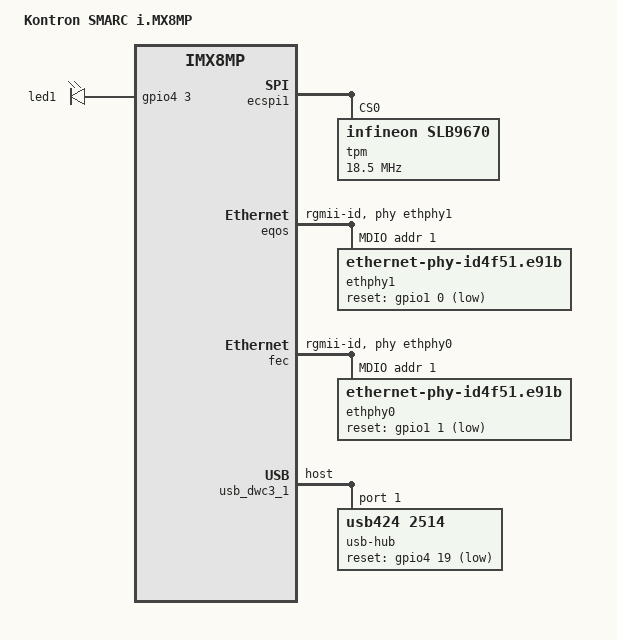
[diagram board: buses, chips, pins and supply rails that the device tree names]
// SPDX-License-Identifier: GPL-2.0+ OR MIT
/*
 * Copyright (C) 2024 Kontron Electronics GmbH
 */

#include <dt-bindings/gpio/gpio.h>
#include "imx8mp-kontron-osm-s.dtsi"

/ {
	model = "Kontron SMARC i.MX8MP";
	compatible = "kontron,imx8mp-smarc", "kontron,imx8mp-osm-s", "fsl,imx8mp";

	leds {
		compatible = "gpio-leds";

		led1 {
			label = "led1";
			gpios = <&gpio4 3 GPIO_ACTIVE_HIGH>;
			linux,default-trigger = "heartbeat";
		};
	};
};

&ecspi1 {
	status = "okay";

	tpm@0 {
		compatible = "infineon,slb9670", "tcg,tpm_tis-spi";
		reg = <0>;
		spi-max-frequency = <18500000>;
	};
};

&eqos {	/* Second ethernet (OSM-S ETH_B) */
	pinctrl-names = "default";
	pinctrl-0 = <&pinctrl_eqos_rgmii>;
	phy-mode = "rgmii-id";
	phy-handle = <&ethphy1>;

	mdio {
		compatible = "snps,dwmac-mdio";
		#address-cells = <1>;
		#size-cells = <0>;

		ethphy1: ethernet-phy@1 {
			compatible = "ethernet-phy-id4f51.e91b";
			reg = <1>;
			pinctrl-0 = <&pinctrl_ethphy1>;
			pinctrl-names = "default";
			reset-assert-us = <10000>;
			reset-gpios = <&gpio1 0 GPIO_ACTIVE_LOW>;
		};
	};
};

&fec { /* First ethernet (OSM-S ETH_A) */
	pinctrl-names = "default";
	pinctrl-0 = <&pinctrl_enet_rgmii>;
	phy-connection-type = "rgmii-id";
	phy-handle = <&ethphy0>;

	mdio {
		#address-cells = <1>;
		#size-cells = <0>;

		ethphy0: ethernet-phy@1 {
			compatible = "ethernet-phy-id4f51.e91b";
			reg = <1>;
			pinctrl-0 = <&pinctrl_ethphy0>;
			pinctrl-names = "default";
			reset-assert-us = <10000>;
			reset-gpios = <&gpio1 1 GPIO_ACTIVE_LOW>;
		};
	};
};

/*
 * Rename SoM signals according to SMARC module usage:
 *   GPIO_A_2 -> GPIO0
 *   GPIO_A_3 -> GPIO1
 *   GPIO_A_4 -> GPIO2
 *   GPIO_A_5 -> GPIO3
 *   USB_B_EN -> n.a.
 *   USB_B_ID -> n.a.
 *   USB_B_OC -> n.a.
 */
&gpio1 {
	gpio-line-names = "GPIO_A_0", "GPIO_A_1", "", "",
			  "", "GPIO0", "GPIO1", "GPIO2",
			  "GPIO3", "", "USB_A_ID", "",
			  "USB_A_EN", "USB_A_OC","CAM_MCK", "",
			  "ETH_B_MDC", "ETH_B_MDIO", "ETH_B_TXD3", "ETH_B_TXD2",
			  "ETH_B_TXD1", "ETH_B_TXD0", "ETH_B_TX_EN", "ETH_B_TX_CLK",
			  "ETH_B_RX_DV", "ETH_B_RX_CLK", "ETH_B_RXD0", "ETH_B_RXD1",
			  "ETH_B_RXD2", "ETH_B_RXD3";
};

/*
 * Rename SoM signals according to SMARC module usage:
 *   SDIO_A_CD -> SDIO_CD
 *   SDIO_A_CLK -> SDIO_CK
 *   SDIO_A_CMD -> SDIO_CMD
 *   SDIO_A_D0 -> SDIO_D0
 *   SDIO_A_D1 -> SDIO_D1
 *   SDIO_A_D2 -> SDIO_D2
 *   SDIO_A_D3 -> SDIO_D3
 *   SDIO_A_PWR_EN -> SDIO_PWR_EN
 *   SDIO_A_WP -> SDIO_WP
 */
&gpio2 {
	gpio-line-names = "", "", "", "", "", "", "", "", "", "", "", "",
			  "SDIO_CD", "SDIO_CK", "SDIO_CMD", "SDIO_D0",
			  "SDIO_D1", "SDIO_D2", "SDIO_D3", "SDIO_PWR_EN",
			  "SDIO_WP";
};

/*
 * Rename SoM signals according to SMARC module usage:
 *   PCIE_CLKREQ -> PCIE_A_CKREQ
 *   PCIE_A_PERST -> PCIE_A_RST
 *   SDIO_B_D5 -> n.a.
 *   SDIO_B_D6 -> n.a.
 *   SDIO_B_D7 -> n.a.
 *   SPI_A_WP -> n.a.
 *   SPI_A_HOLD -> n.a.
 *   UART_B_RTS -> SER2_RTS
 *   UART_B_CTS -> SER2_CTS
 *   SDIO_B_D0 -> GPIO8
 *   SDIO_B_D1 -> GPIO9
 *   SDIO_B_D2 -> GPIO10
 *   SDIO_B_D3 -> GPIO11
 *   SDIO_B_WP -> n.a.
 *   SDIO_B_D4 -> n.a.
 *   PCIE_SM_ALERT -> SMB_ALERT
 *   SDIO_B_CLK -> GPIO6
 *   SDIO_B_CMD -> GPIO7
 *   GPIO_B_0 -> LCD0_BKLT_EN
 *   GPIO_B_1 -> LCD1_BKLT_EN
 *   BOOT_SEL0 -> BOOT_SEL2
 *   SDIO_B_CD -> n.a.
 *   SDIO_B_PWR_EN -> n.a.
 *   HDMI_CEC -> n.a.
 *   SDIO_B_PWR_EN -> n.a.
 */
&gpio3 {
	pinctrl-0 = <&pinctrl_gpio3>, <&pinctrl_gpio3_smarc>;
	gpio-line-names = "PCIE_WAKE", "PCIE_A_CKREQ", "PCIE_A_RST", "",
			  "", "", "", "",
			  "SER2_RTS", "SER2_CTS", "GPIO8", "GPIO9",
			  "GPIO10", "GPIO11", "", "",
			  "SMB_ALERT", "GPIO6", "GPIO7", "LCD0_BKLT_EN",
			  "LCD1_BKLT_EN", "", "BOOT_SEL2", "BOOT_SEL1",
			  "", "", "", "",
			  "", "HDMI_HPD";
};

/*
 * Rename SoM signals according to SMARC module usage:
 *   GPIO_B_5 -> n.a.
 *   GPIO_B_6 -> n.a.
 *   GPIO_B_7 -> n.a.
 *   GPIO_C_0 -> LED
 *   GPIO_B_3 -> ETH2_INT
 *   GPIO_B_4 -> USB_HUB_RST
 *   GPIO_B_2 -> ETH1_INT
 *   GPIO_A_6 -> GPIO4
 *   CAN_A_TX -> CAN0_TX
 *   UART_A_CTS -> SER0_CTS
 *   UART_A_RTS -> SER0_RTS
 *   CAN_A_RX -> CAN0_RX
 *   CAN_B_TX -> CAN1_TX
 *   CAN_B_RX -> CAN1_RX
 *   GPIO_A_7 -> TEST
 *   I2S_A_DATA_IN -> I2S0_SDIN
 *   I2S_LRCLK -> I2S0_LRCK
 */
&gpio4 {
	gpio-line-names = "", "", "", "LED",
			  "ETH_A_MDC", "ETH_A_MDIO", "ETH_A_RXD0", "ETH_A_RXD1",
			  "ETH_A_RXD2", "ETH_A_RXD3", "ETH_A_RX_DV", "ETH_A_RX_CLK",
			  "ETH_A_TXD0", "ETH_A_TXD1", "ETH_A_TXD2", "ETH_A_TXD3",
			  "ETH_A_TX_EN", "ETH_A_TX_CLK", "ETH2_INT", "USB_HUB_RST",
			  "ETH1_INT", "GPIO4", "CAN0_TX", "SER0_CTS",
			  "SER0_RTS", "CAN0_RX", "CAN1_TX", "CAN1_RX",
			  "TEST", "CARRIER_PWR_EN", "I2S0_SDIN", "I2S0_LRCK";
};

/*
 * Rename SoM signals according to SMARC module usage:
 *   I2S_BITCLK -> I2S0_CK
 *   I2S_A_DATA_OUT -> I2S0_SDOUT
 *   I2S_MCLK -> AUDIO_MCK
 *   PWM_2 -> GPIO5
 *   PWM_1 -> LCD1_BKLT_PWM
 *   PWM_0 -> LCD0_BKLT_PWM
 *   SPI_A_SCK -> SPI0_CK
 *   SPI_A_SDO -> SPI0_DO
 *   SPI_A_SDI -> SPI0_DIN
 *   SPI_A_CS0 -> SPI0_CS0
 *   SPI_B_SCK -> ESPI_CK
 *   SPI_B_SDO -> ESPI_IO_0
 *   SPI_B_SDI -> ESPI_IO_1
 *   SPI_B_CS0 -> ESPI_CS0
 *   I2C_A_SCL -> I2C_PM_CK
 *   I2C_A_SDA -> I2C_PM_DAT
 *   I2C_B_SCL -> I2C_GP_CK
 *   I2C_B_SDA -> I2C_GP_DAT
 *   PCIE_SMCLK -> HDMI_CTRL_CK
 *   PCIE_SMDAT -> HDMI_CTRL_DAT
 *   I2C_CAM_SCL -> I2C_CAM1_CK
 *   I2C_CAM_SDA -> I2C_CAM1_DAT
 *   UART_A_RX -> SER0_RX
 *   UART_A_TX -> SER0_TX
 *   UART_C_RX -> SER3_RX
 *   UART_C_TX -> SER3_TX
 *   UART_CON_RX -> SER1_RX
 *   UART_CON_TX -> SER1_TX
 *   UART_B_RX -> SER2_RX
 *   UART_B_TX -> SER2_TX
 */
&gpio5 {
	pinctrl-names = "default";
	pinctrl-0 = <&pinctrl_gpio5_smarc>;
	gpio-line-names = "I2S0_CK", "I2S0_SDOUT", "AUDIO_MCK", "GPIO5",
			  "LCD1_BKLT_PWM", "LCD0_BKLT_PWM", "SPI0_CK", "SPI0_DO",
			  "SPI0_DIN", "SPI0_CS0", "ESPI_CK", "ESPI_IO_0",
			  "ESPI_IO_1", "ESPI_CS0", "I2C_PM_CK", "I2C_PM_DAT",
			  "I2C_GP_CK", "I2C_GP_DAT", "HDMI_CTRL_CK", "HDMI_CTRL_DAT",
			  "I2C_CAM1_CK", "I2C_CAM1_DAT", "SER0_RX", "SER0_TX",
			  "SER3_RX", "SER3_TX", "SER1_RX", "SER1_TX",
			  "SER2_RX", "SER2_TX";
};

&usb_dwc3_1 {
	dr_mode = "host";
	#address-cells = <1>;
	#size-cells = <0>;

	usb-hub@1 {
		compatible = "usb424,2514";
		reg = <1>;
		reset-gpios = <&gpio4 19 GPIO_ACTIVE_LOW>;
	};
};

&usb3_1 {
	fsl,disable-port-power-control;
	fsl,permanently-attached;
};

&iomuxc {
	pinctrl_ethphy0: ethphy0grp {
		fsl,pins = <
			MX8MP_IOMUXC_GPIO1_IO01__GPIO1_IO01		0x46
		>;
	};

	pinctrl_ethphy1: ethphy1grp {
		fsl,pins = <
			MX8MP_IOMUXC_GPIO1_IO00__GPIO1_IO00		0x46
		>;
	};

	pinctrl_gpio3_smarc: gpio3smarcgrp {
		fsl,pins = <
			MX8MP_IOMUXC_NAND_DATA04__GPIO3_IO10		0x1d0 /* SMARC GPIO8 */
			MX8MP_IOMUXC_NAND_DATA05__GPIO3_IO11		0x1d0 /* SMARC GPIO9 */
			MX8MP_IOMUXC_NAND_DATA06__GPIO3_IO12		0x1d0 /* SMARC GPIO10 */
			MX8MP_IOMUXC_NAND_DATA07__GPIO3_IO13		0x1d0 /* SMARC GPIO11 */
			MX8MP_IOMUXC_NAND_WE_B__GPIO3_IO17		0x190 /* SMARC GPIO6 */
			MX8MP_IOMUXC_NAND_WP_B__GPIO3_IO18		0x1d0 /* SMARC GPIO7 */
		>;
	};

	pinctrl_gpio5_smarc: gpio5smarcgrp {
		fsl,pins = <
			MX8MP_IOMUXC_SPDIF_RX__GPIO5_IO04		0x1d0 /* SMARC GPIO5 */
		>;
	};
};
